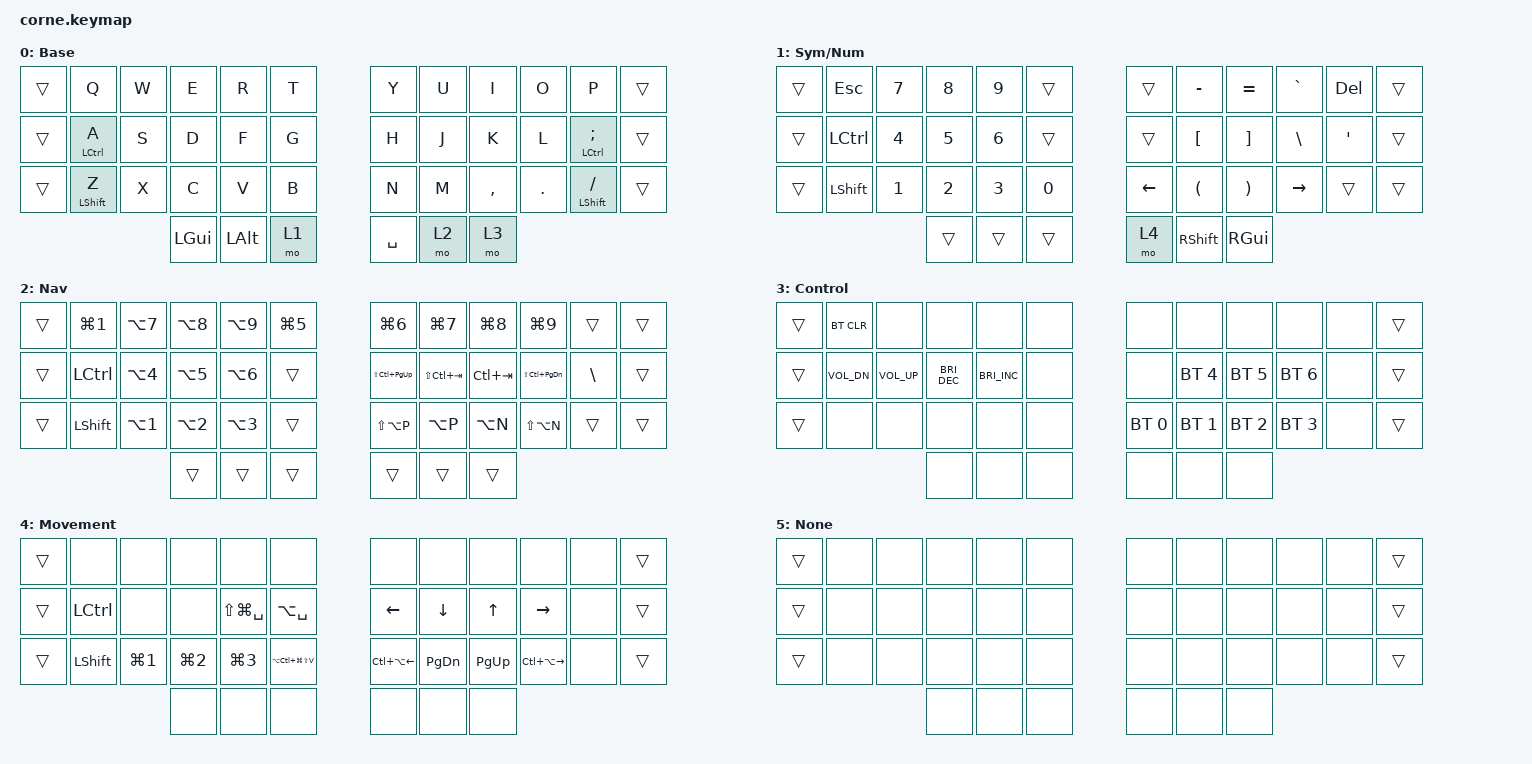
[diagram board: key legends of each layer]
#include <behaviors.dtsi>
#include <dt-bindings/zmk/bt.h>
#include <dt-bindings/zmk/keys.h>

#define BASE 0
#define NAV  1
#define SYM  2
#define ADJ  3
#define TVP1 4
#define TVP2 5

// home row

#define HR1 LCTRL
#define HR2 LSHFT
#define HR3 RALT
#define HR4 LCTRL
#define MV_TB_L LC(LS(PG_UP))
#define MV_TB_R LC(LS(PG_DN))
#define PREV_TAB LC(LS(TAB))
#define NEXT_TAB LC(TAB)
#define PREV_SPACE LA(P)
#define NEXT_SPACE LA(N)

&lt { flavor = "hold-preferred"; };

&mt { flavor = "tap-preferred"; };

/ {
    combos {
        compatible = "zmk,combos";

        combo_esc {
            timeout-ms = <30>;
            key-positions = <2 3>;
            bindings = <&kp ESC>;
        };

        combo_tab {
            timeout-ms = <30>;
            key-positions = <14 15>;
            bindings = <&kp TAB>;
        };

        combo_bksp {
            timeout-ms = <30>;
            key-positions = <8 9>;
            bindings = <&kp BSPC>;
        };

        combo_enter {
            timeout-ms = <30>;
            key-positions = <20 21>;
            bindings = <&kp ENTER>;
        };
    };

    keymap {
        compatible = "zmk,keymap";

        // ▄▄▄▄▄▄▄▄▄▄▄▄▄▄▄▄▄▄▄▄▄▄▄▄▄▄▄▄▄▄▄▄▄▄▄▄▄▄▄▄▄▄▄▄▄▄▄▄▄▄▄▄▄▄▄▄▄▄▄▄▄▄▄▄▄▄▄▄▄▄▄▄▄▄▄▄▄▄▄▄▄▄▄▄▄▄▄▄▄▄▄▄▄▄▄▄▄▄▄▄▄▄▄▄▄▄▄▄▄▄▄▄▄▄▄▄▄▄▄▄▄▄▄▄▄▄▄▄▄▄▄▄▄▄▄▄▄▄▄▄▄▄▄▄▄▄▄▄▄

        base_layer {
            // ┏━━━━━━━━━━━━━━━━━━━━━━━━━━━━━━━━━━━━━━━┓

            label = "Base";

            // ┗━━━━━━━━━━━━━━━━━━━━━━━━━━━━━━━━━━━━━━━┛
            //             ┏━━━━━━━━━━━┳━━━━━━━━━━━┳━━━━━━━━━━━┳━━━━━━━━━━━┳━━━━━━━━━━━┓   ┏━━━━━━━━━━━┳━━━━━━━━━━━┳━━━━━━━━━━━┳━━━━━━━━━━━┳━━━━━━━━━━━┓
            //             ┃     Q     ┃     W     ┃     F     ┃     P     ┃     G     ┃   ┃     J     ┃     L     ┃     U     ┃     Y     ┃     ;     ┃
            //             ┣━━━━━━━━━━━╋━━━━━━━━━━━╋━━━━━━━━━━━╋━━━━━━━━━━━╋━━━━━━━━━━━┫   ┣━━━━━━━━━━━╋━━━━━━━━━━━╋━━━━━━━━━━━╋━━━━━━━━━━━╋━━━━━━━━━━━┫
            //             ┃     A     ┃     R     ┃     S     ┃     T     ┃     D     ┃   ┃     H     ┃     N     ┃     E     ┃     I     ┃     O     ┃
            // ┏━━━━━━━━━━━╋━━━━━━━━━━━╋━━━━━━━━━━━╋━━━━━━━━━━━╋━━━━━━━━━━━╋━━━━━━━━━━━┫   ┣━━━━━━━━━━━╋━━━━━━━━━━━╋━━━━━━━━━━━╋━━━━━━━━━━━╋━━━━━━━━━━━╋━━━━━━━━━━━┓
            // ┃     Q     ┃     Z     ┃     X     ┃     C     ┃     V     ┃     B     ┃   ┃     K     ┃     M     ┃     ,     ┃     .     ┃     /     ┃     \     ┃
            // ┗━━━━━━━━━━━┻━━━━━━━━━━━┻━━━━━━━━━━━╋━━━━━━━━━━━╋━━━━━━━━━━━╋━━━━━━━━━━━┫   ┣━━━━━━━━━━━╋━━━━━━━━━━━╋━━━━━━━━━━━╋━━━━━━━━━━━┻━━━━━━━━━━━┻━━━━━━━━━━━┛
            //                                     ┃    DEL    ┃    TAB    ┃    SPC    ┃   ┃   ENTER   ┃           ┃   BSPC    ┃
            //                                     ┗━━━━━━━━━━━┻━━━━━━━━━━━┻━━━━━━━━━━━┛   ┗━━━━━━━━━━━┻━━━━━━━━━━━┻━━━━━━━━━━━┛

            bindings = <
&trans  &kp Q      &kp W  &kp E     &kp R     &kp T    &kp Y      &kp U  &kp I      &kp O    &kp P         &trans
&trans  &mt HR1 A  &kp S  &kp D     &kp F     &kp G    &kp H      &kp J  &kp K      &kp L    &mt HR1 SEMI  &trans
&trans  &mt HR2 Z  &kp X  &kp C     &kp V     &kp B    &kp N      &kp M  &kp COMMA  &kp DOT  &mt HR2 FSLH  &trans
                          &kp LGUI  &kp LALT  &mo 1    &kp SPACE  &mo 2  &mo 3
            >;
        };

        // ▄▄▄▄▄▄▄▄▄▄▄▄▄▄▄▄▄▄▄▄▄▄▄▄▄▄▄▄▄▄▄▄▄▄▄▄▄▄▄▄▄▄▄▄▄▄▄▄▄▄▄▄▄▄▄▄▄▄▄▄▄▄▄▄▄▄▄▄▄▄▄▄▄▄▄▄▄▄▄▄▄▄▄▄▄▄▄▄▄▄▄▄▄▄▄▄▄▄▄▄▄▄▄▄▄▄▄▄▄▄▄▄▄▄▄▄▄▄▄▄▄▄▄▄▄▄▄▄▄▄▄▄▄▄▄▄▄▄▄▄▄▄▄▄▄▄▄▄▄

        lower_layer {
            // ┏━━━━━━━━━━━━━━━━━━━━━━━━━━━━━━━━━━━━━━━┓

            label = "Sym/Num";

            // ┗━━━━━━━━━━━━━━━━━━━━━━━━━━━━━━━━━━━━━━━┛
            //             ┏━━━━━━━━━━━┳━━━━━━━━━━━┳━━━━━━━━━━━┳━━━━━━━━━━━┳━━━━━━━━━━━┓   ┏━━━━━━━━━━━┳━━━━━━━━━━━┳━━━━━━━━━━━┳━━━━━━━━━━━┳━━━━━━━━━━━┓
            //             ┃           ┃           ┃     UP    ┃           ┃     {     ┃   ┃     }     ┃     7     ┃     8     ┃     9     ┃     +     ┃
            //             ┣━━━━━━━━━━━╋━━━━━━━━━━━╋━━━━━━━━━━━╋━━━━━━━━━━━╋━━━━━━━━━━━┫   ┣━━━━━━━━━━━╋━━━━━━━━━━━╋━━━━━━━━━━━╋━━━━━━━━━━━╋━━━━━━━━━━━┫
            //             ┃   SHIFT   ┃   LEFT    ┃    DOWN   ┃   RIGHT   ┃     [     ┃   ┃     ]     ┃     4     ┃     5     ┃     6     ┃     -     ┃
            // ┏━━━━━━━━━━━╋━━━━━━━━━━━╋━━━━━━━━━━━╋━━━━━━━━━━━╋━━━━━━━━━━━╋━━━━━━━━━━━┫   ┣━━━━━━━━━━━╋━━━━━━━━━━━╋━━━━━━━━━━━╋━━━━━━━━━━━╋━━━━━━━━━━━╋━━━━━━━━━━━┓
            // ┃           ┃           ┃   P UP    ┃  C LOCK   ┃  P DOWN   ┃     (     ┃   ┃     )     ┃     1     ┃     2     ┃     3     ┃     *     ┃           ┃
            // ┗━━━━━━━━━━━┻━━━━━━━━━━━┻━━━━━━━━━━━╋━━━━━━━━━━━╋━━━━━━━━━━━╋━━━━━━━━━━━┫   ┣━━━━━━━━━━━╋━━━━━━━━━━━╋━━━━━━━━━━━╋━━━━━━━━━━━┻━━━━━━━━━━━┻━━━━━━━━━━━┛
            //                                     ┃           ┃    TAB    ┃    SPC    ┃   ┃    DEL    ┃     0     ┃           ┃
            //                                     ┗━━━━━━━━━━━┻━━━━━━━━━━━┻━━━━━━━━━━━┛   ┗━━━━━━━━━━━┻━━━━━━━━━━━┻━━━━━━━━━━━┛

            bindings = <
&trans  &kp ESC    &kp N7  &kp N8  &kp N9  &trans    &trans    &kp MINUS  &kp EQUAL  &kp GRAVE  &kp DEL  &trans
&trans  &kp LCTRL  &kp N4  &kp N5  &kp N6  &trans    &trans    &kp LBKT   &kp RBKT   &kp BSLH   &kp SQT  &trans
&trans  &kp LSHFT  &kp N1  &kp N2  &kp N3  &kp N0    &kp LEFT  &kp LPAR   &kp RPAR   &kp RIGHT  &trans   &trans
                           &trans  &trans  &trans    &mo 4     &kp RSHFT  &kp RGUI
            >;
        };

        // ▄▄▄▄▄▄▄▄▄▄▄▄▄▄▄▄▄▄▄▄▄▄▄▄▄▄▄▄▄▄▄▄▄▄▄▄▄▄▄▄▄▄▄▄▄▄▄▄▄▄▄▄▄▄▄▄▄▄▄▄▄▄▄▄▄▄▄▄▄▄▄▄▄▄▄▄▄▄▄▄▄▄▄▄▄▄▄▄▄▄▄▄▄▄▄▄▄▄▄▄▄▄▄▄▄▄▄▄▄▄▄▄▄▄▄▄▄▄▄▄▄▄▄▄▄▄▄▄▄▄▄▄▄▄▄▄▄▄▄▄▄▄▄▄▄▄▄▄▄

        nav_layer {
            // ┏━━━━━━━━━━━━━━━━━━━━━━━━━━━━━━━━━━━━━━━┓

            label = "Nav";

            // ┗━━━━━━━━━━━━━━━━━━━━━━━━━━━━━━━━━━━━━━━┛
            //             ┏━━━━━━━━━━━┳━━━━━━━━━━━┳━━━━━━━━━━━┳━━━━━━━━━━━┳━━━━━━━━━━━┓   ┏━━━━━━━━━━━┳━━━━━━━━━━━┳━━━━━━━━━━━┳━━━━━━━━━━━┳━━━━━━━━━━━┓
            //             ┃     !     ┃     @     ┃     #     ┃     $     ┃     %     ┃   ┃     ˆ     ┃     &     ┃     Ü     ┃     '     ┃     "     ┃
            //             ┣━━━━━━━━━━━╋━━━━━━━━━━━╋━━━━━━━━━━━╋━━━━━━━━━━━╋━━━━━━━━━━━┫   ┣━━━━━━━━━━━╋━━━━━━━━━━━╋━━━━━━━━━━━╋━━━━━━━━━━━╋━━━━━━━━━━━┫
            //             ┃     Ä     ┃           ┃    SZ     ┃           ┃           ┃   ┃   MUTE    ┃   YEN     ┃   EURO    ┃  POUND    ┃     Ö     ┃
            // ┏━━━━━━━━━━━╋━━━━━━━━━━━╋━━━━━━━━━━━╋━━━━━━━━━━━╋━━━━━━━━━━━╋━━━━━━━━━━━┫   ┣━━━━━━━━━━━╋━━━━━━━━━━━╋━━━━━━━━━━━╋━━━━━━━━━━━╋━━━━━━━━━━━╋━━━━━━━━━━━┓
            // ┃           ┃  EMAIL1   ┃  EMAIL2   ┃           ┃           ┃           ┃   ┃   VOL-    ┃   VOL+    ┃   LAST    ┃   NEXT    ┃     \     ┃           ┃
            // ┗━━━━━━━━━━━┻━━━━━━━━━━━┻━━━━━━━━━━━╋━━━━━━━━━━━╋━━━━━━━━━━━╋━━━━━━━━━━━┫   ┣━━━━━━━━━━━╋━━━━━━━━━━━╋━━━━━━━━━━━╋━━━━━━━━━━━┻━━━━━━━━━━━┻━━━━━━━━━━━┛
            //                                     ┃           ┃    GIF    ┃    ADJ    ┃   ┃           ┃           ┃           ┃
            //                                     ┗━━━━━━━━━━━┻━━━━━━━━━━━┻━━━━━━━━━━━┛   ┗━━━━━━━━━━━┻━━━━━━━━━━━┻━━━━━━━━━━━┛

            bindings = <
&trans  &kp LG(N1)  &kp LA(N7)  &kp LA(N8)  &kp LA(N9)  &kp LG(N5)    &kp LG(N6)         &kp LG(N7)       &kp LG(N8)   &kp LG(N9)             &trans    &trans
&trans  &kp LCTRL   &kp LA(N4)  &kp LA(N5)  &kp LA(N6)  &trans        &kp LS(LC(PG_UP))  &kp LS(LC(TAB))  &kp LC(TAB)  &kp LS(LC(PAGE_DOWN))  &kp BSLH  &trans
&trans  &kp LSHFT   &kp LA(N1)  &kp LA(N2)  &kp LA(N3)  &trans        &kp LS(LA(P))      &kp LA(P)        &kp LA(N)    &kp LS(LA(N))          &trans    &trans
                                &trans      &trans      &trans        &trans             &trans           &trans
            >;
        };

        // ▄▄▄▄▄▄▄▄▄▄▄▄▄▄▄▄▄▄▄▄▄▄▄▄▄▄▄▄▄▄▄▄▄▄▄▄▄▄▄▄▄▄▄▄▄▄▄▄▄▄▄▄▄▄▄▄▄▄▄▄▄▄▄▄▄▄▄▄▄▄▄▄▄▄▄▄▄▄▄▄▄▄▄▄▄▄▄▄▄▄▄▄▄▄▄▄▄▄▄▄▄▄▄▄▄▄▄▄▄▄▄▄▄▄▄▄▄▄▄▄▄▄▄▄▄▄▄▄▄▄▄▄▄▄▄▄▄▄▄▄▄▄▄▄▄▄▄▄▄

        control_layer {
            // ┏━━━━━━━━━━━━━━━━━━━━━━━━━━━━━━━━━━━━━━━┓

            label = "Control";

            // ┗━━━━━━━━━━━━━━━━━━━━━━━━━━━━━━━━━━━━━━━┛
            //             ┏━━━━━━━━━━━┳━━━━━━━━━━━┳━━━━━━━━━━━┳━━━━━━━━━━━┳━━━━━━━━━━━┓   ┏━━━━━━━━━━━┳━━━━━━━━━━━┳━━━━━━━━━━━┳━━━━━━━━━━━┳━━━━━━━━━━━┓
            //             ┃   RESET   ┃ BT CLEAR  ┃  OUT TOG  ┃           ┃           ┃   ┃           ┃    F7     ┃    F8     ┃    F9     ┃    F12    ┃
            //             ┣━━━━━━━━━━━╋━━━━━━━━━━━╋━━━━━━━━━━━╋━━━━━━━━━━━╋━━━━━━━━━━━┫   ┣━━━━━━━━━━━╋━━━━━━━━━━━╋━━━━━━━━━━━╋━━━━━━━━━━━╋━━━━━━━━━━━┫
            //             ┃ BOOTLOAD  ┃ BT NEXT   ┃           ┃           ┃           ┃   ┃           ┃    F4     ┃    F5     ┃    F6     ┃    F11    ┃
            // ┏━━━━━━━━━━━╋━━━━━━━━━━━╋━━━━━━━━━━━╋━━━━━━━━━━━╋━━━━━━━━━━━╋━━━━━━━━━━━┫   ┣━━━━━━━━━━━╋━━━━━━━━━━━╋━━━━━━━━━━━╋━━━━━━━━━━━╋━━━━━━━━━━━╋━━━━━━━━━━━┓
            // ┃           ┃           ┃ BT PREV   ┃           ┃           ┃           ┃   ┃           ┃    F1     ┃    F2     ┃    F3     ┃    F10    ┃           ┃
            // ┗━━━━━━━━━━━┻━━━━━━━━━━━┻━━━━━━━━━━━╋━━━━━━━━━━━╋━━━━━━━━━━━╋━━━━━━━━━━━┫   ┣━━━━━━━━━━━╋━━━━━━━━━━━╋━━━━━━━━━━━╋━━━━━━━━━━━┻━━━━━━━━━━━┻━━━━━━━━━━━┛
            //                                     ┃           ┃           ┃           ┃   ┃           ┃           ┃           ┃
            //                                     ┗━━━━━━━━━━━┻━━━━━━━━━━━┻━━━━━━━━━━━┛   ┗━━━━━━━━━━━┻━━━━━━━━━━━┻━━━━━━━━━━━┛

            bindings = <
&trans  &bt BT_CLR    &none         &none                 &none                 &none    &none         &none         &none         &none         &none  &trans
&trans  &kp C_VOL_DN  &kp C_VOL_UP  &kp C_BRIGHTNESS_DEC  &kp C_BRIGHTNESS_INC  &none    &none         &bt BT_SEL 4  &bt BT_SEL 5  &bt BT_SEL 6  &none  &trans
&trans  &none         &none         &none                 &none                 &none    &bt BT_SEL 0  &bt BT_SEL 1  &bt BT_SEL 2  &bt BT_SEL 3  &none  &trans
                                    &none                 &none                 &none    &none         &none         &none
            >;
        };

        // ▄▄▄▄▄▄▄▄▄▄▄▄▄▄▄▄▄▄▄▄▄▄▄▄▄▄▄▄▄▄▄▄▄▄▄▄▄▄▄▄▄▄▄▄▄▄▄▄▄▄▄▄▄▄▄▄▄▄▄▄▄▄▄▄▄▄▄▄▄▄▄▄▄▄▄▄▄▄▄▄▄▄▄▄▄▄▄▄▄▄▄▄▄▄▄▄▄▄▄▄▄▄▄▄▄▄▄▄▄▄▄▄▄▄▄▄▄▄▄▄▄▄▄▄▄▄▄▄▄▄▄▄▄▄▄▄▄▄▄▄▄▄▄▄▄▄▄▄▄

        movement_layer {
            // ┏━━━━━━━━━━━━━━━━━━━━━━━━━━━━━━━━━━━━━━━┓

            label = "Movement";

            // ┗━━━━━━━━━━━━━━━━━━━━━━━━━━━━━━━━━━━━━━━┛
            //             ┏━━━━━━━━━━━┳━━━━━━━━━━━┳━━━━━━━━━━━┳━━━━━━━━━━━┳━━━━━━━━━━━┓   ┏━━━━━━━━━━━┳━━━━━━━━━━━┳━━━━━━━━━━━┳━━━━━━━━━━━┳━━━━━━━━━━━┓
            //             ┃ NEXT FILE ┃ MARK IN   ┃ ROTATE    ┃ MARK OUT  ┃ SHOW SNAP ┃   ┃           ┃           ┃           ┃           ┃           ┃
            //             ┣━━━━━━━━━━━╋━━━━━━━━━━━╋━━━━━━━━━━━╋━━━━━━━━━━━╋━━━━━━━━━━━┫   ┣━━━━━━━━━━━╋━━━━━━━━━━━╋━━━━━━━━━━━╋━━━━━━━━━━━╋━━━━━━━━━━━┫
            //             ┃ TVP II    ┃ LEFT      ┃ PAN       ┃ RIGHT     ┃ PLAY/FLIP ┃   ┃           ┃           ┃           ┃           ┃           ┃
            // ┏━━━━━━━━━━━╋━━━━━━━━━━━╋━━━━━━━━━━━╋━━━━━━━━━━━╋━━━━━━━━━━━╋━━━━━━━━━━━┫   ┣━━━━━━━━━━━╋━━━━━━━━━━━╋━━━━━━━━━━━╋━━━━━━━━━━━╋━━━━━━━━━━━╋━━━━━━━━━━━┓
            // ┃ FULLSCR   ┃ SHIFT     ┃ COPY      ┃ DELETE    ┃ PASTE     ┃ IMG MARK  ┃   ┃           ┃           ┃           ┃           ┃           ┃           ┃
            // ┗━━━━━━━━━━━┻━━━━━━━━━━━┻━━━━━━━━━━━╋━━━━━━━━━━━╋━━━━━━━━━━━╋━━━━━━━━━━━┫   ┣━━━━━━━━━━━╋━━━━━━━━━━━╋━━━━━━━━━━━╋━━━━━━━━━━━┻━━━━━━━━━━━┻━━━━━━━━━━━┛
            //                                     ┃           ┃ UNDO/SAVE ┃  SEL/MOV  ┃   ┃           ┃           ┃           ┃
            //                                     ┗━━━━━━━━━━━┻━━━━━━━━━━━┻━━━━━━━━━━━┛   ┗━━━━━━━━━━━┻━━━━━━━━━━━┻━━━━━━━━━━━┛

            bindings = <
&trans  &none      &none             &none             &none              &none                    &none             &none      &none      &none              &none  &trans
&trans  &kp LCTRL  &none             &none             &kp LS(LG(SPACE))  &kp LA(SPACE)            &kp LEFT          &kp DOWN   &kp UP     &kp RIGHT          &none  &trans
&trans  &kp LSHFT  &kp LG(NUMBER_1)  &kp LG(NUMBER_2)  &kp LG(NUMBER_3)   &kp LA(LC(LG(LS(V))))    &kp LC(LA(LEFT))  &kp PG_DN  &kp PG_UP  &kp LC(LA(RIGHT))  &none  &trans
                                     &none             &none              &none                    &none             &none      &none
            >;
        };

        // ▄▄▄▄▄▄▄▄▄▄▄▄▄▄▄▄▄▄▄▄▄▄▄▄▄▄▄▄▄▄▄▄▄▄▄▄▄▄▄▄▄▄▄▄▄▄▄▄▄▄▄▄▄▄▄▄▄▄▄▄▄▄▄▄▄▄▄▄▄▄▄▄▄▄▄▄▄▄▄▄▄▄▄▄▄▄▄▄▄▄▄▄▄▄▄▄▄▄▄▄▄▄▄▄▄▄▄▄▄▄▄▄▄▄▄▄▄▄▄▄▄▄▄▄▄▄▄▄▄▄▄▄▄▄▄▄▄▄▄▄▄▄▄▄▄▄▄▄▄

        none_layer {
            // ┏━━━━━━━━━━━━━━━━━━━━━━━━━━━━━━━━━━━━━━━┓

            label = "None";

            // ┗━━━━━━━━━━━━━━━━━━━━━━━━━━━━━━━━━━━━━━━┛

            bindings = <
&trans  &none  &none  &none  &none  &none    &none  &none  &none  &none  &none  &trans
&trans  &none  &none  &none  &none  &none    &none  &none  &none  &none  &none  &trans
&trans  &none  &none  &none  &none  &none    &none  &none  &none  &none  &none  &trans
                      &none  &none  &none    &none  &none  &none
            >;
        };
    };
};
